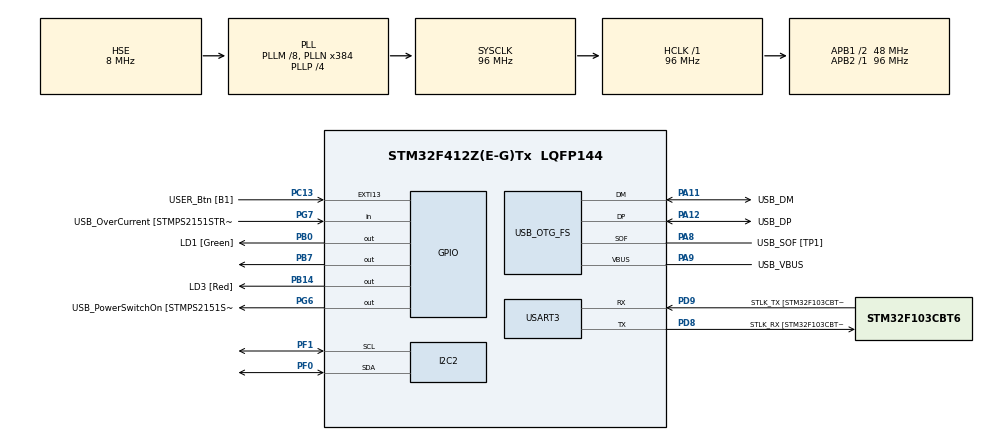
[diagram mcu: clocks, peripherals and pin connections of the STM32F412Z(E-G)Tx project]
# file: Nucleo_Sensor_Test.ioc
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Mcu.Family=STM32F4
Mcu.Name=STM32F412Z(E-G)Tx
Mcu.Package=LQFP144
NVIC.PriorityGroup=NVIC_PRIORITYGROUP_4
PA10.GPIO_Label=USB_ID
PA10.Signal=USB_OTG_FS_ID
PA11.GPIO_Label=USB_DM
PA11.Mode=Device_Only
PA11.Signal=USB_OTG_FS_DM
PA12.GPIO_Label=USB_DP
PA12.Mode=Device_Only
PA12.Signal=USB_OTG_FS_DP
PA13.GPIO_Label=TMS
PA13.Mode=Serial_Wire
PA13.Signal=SYS_JTMS-SWDIO
PA14.GPIO_Label=TCK
PA14.Mode=Serial_Wire
PA14.Signal=SYS_JTCK-SWCLK
PA8.GPIO_Label=USB_SOF [TP1]
PA8.Mode=Activate_SOF_FS
PA8.Signal=USB_OTG_FS_SOF
PA9.GPIO_Label=USB_VBUS
PA9.Mode=Activate_VBUS
PA9.Signal=USB_OTG_FS_VBUS
PB0.GPIO_Label=LD1 [Green]
PB0.Signal=GPIO_Output
PB14.GPIO_Label=LD3 [Red]
PB14.Signal=GPIO_Output
PB3.GPIO_Label=SWO
PB3.Signal=SYS_JTDO-SWO
PB7.Signal=GPIO_Output
PB8.Signal=I2C1_SCL
PB9.Signal=I2C1_SDA
PC13.GPIO_Label=USER_Btn [B1]
PC13.Signal=GPXTI13
PC14-OSC32_IN.Mode=LSE-External-Oscillator
PC14-OSC32_IN.Signal=RCC_OSC32_IN
PC15-OSC32_OUT.Mode=LSE-External-Oscillator
PC15-OSC32_OUT.Signal=RCC_OSC32_OUT
PD8.GPIO_Label=STLK_RX [STM32F103CBT6_PA3]
PD8.Mode=Asynchronous
PD8.Signal=USART3_TX
PD9.GPIO_Label=STLK_TX [STM32F103CBT6_PA2]
PD9.Mode=Asynchronous
PD9.Signal=USART3_RX
PF0.Mode=I2C
PF0.Signal=I2C2_SDA
PF1.Mode=I2C
PF1.Signal=I2C2_SCL
PG6.GPIO_Label=USB_PowerSwitchOn [STMPS2151STR_EN]
PG6.Signal=GPIO_Output
PG7.GPIO_Label=USB_OverCurrent [STMPS2151STR_FAULT]
PG7.Signal=GPIO_Input
PH0\ -\ OSC_IN.GPIO_Label=MCO
PH0\ -\ OSC_IN.Mode=HSE-External-Clock-Source
PH0\ -\ OSC_IN.Signal=RCC_OSC_IN
PH1\ -\ OSC_OUT.Mode=HSE-External-Clock-Source
PH1\ -\ OSC_OUT.Signal=RCC_OSC_OUT
ProjectManager.HeapSize=0x200
ProjectManager.StackSize=0x400
ProjectManager.TargetToolchain=STM32CubeIDE
RCC.48MHZClocksFreq_Value=24000000
RCC.AHBFreq_Value=96000000
RCC.APB1CLKDivider=RCC_HCLK_DIV2
RCC.APB1Freq_Value=48000000
RCC.APB1TimFreq_Value=96000000
RCC.APB2Freq_Value=96000000
RCC.APB2TimFreq_Value=96000000
RCC.CortexFreq_Value=96000000
RCC.HCLKFreq_Value=96000000
RCC.HSE_VALUE=8000000
RCC.HSI_VALUE=16000000
RCC.PLLM=8
RCC.PLLMUL=RCC_PLL_MUL9
RCC.PLLN=384
RCC.PLLP=RCC_PLLP_DIV4
RCC.PLLQ=8
RCC.PRESCALERUSB=RCC_USBCLKSOURCE_PLL_DIV1_5
RCC.SYSCLKFreq_VALUE=96000000
RCC.SYSCLKSource=RCC_SYSCLKSOURCE_PLLCLK
RCC.SYSCLKSourceVirtual=RCC_SYSCLKSOURCE_PLLCLK
RCC.USBFreq_Value=48000000
RCC.VCOOutputFreq_Value=384000000
USART3.VirtualMode=VM_ASYNC
USB_OTG_FS.VirtualMode=Device_Only
board=NUCLEO-F412ZG

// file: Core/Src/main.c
/* USER CODE BEGIN Header */
/**
  ******************************************************************************
  * @file           : main.c
  * @brief          : Main program body
  ******************************************************************************
  * @attention
  *
  * Copyright (c) 2024 STMicroelectronics.
  * All rights reserved.
  *
  * This software is licensed under terms that can be found in the LICENSE file
  * in the root directory of this software component.
  * If no LICENSE file comes with this software, it is provided AS-IS.
  *
  ******************************************************************************
  */
/* USER CODE END Header */
#include "main.h"

/* USER CODE BEGIN Includes */

#include "stm32f4xx_hal.h"
#include <string.h>
#include <stdio.h>
#include <math.h>
#include <stdlib.h>

/* USER CODE END Includes */

/* USER CODE BEGIN PD */

typedef uint8_t bool;
#define false 0
#define true 1

// MMC5603 (Magnometer)
#define MMC5603_ADDRESS (0x30 << 1)  // MMC5603 I2C address
#define MMC5603_REG_CONTROL    0x1A          // Control Register 1
#define MMC5603_REG_CONTROL_2  0x1C          // Control Register 2
#define MMC5603_CONTINUOUS_MODE 0x80         // Enable continuous measurement mode
#define MMC5603_ODR_SETTING     0x08         // Set Output Data Rate (ODR) to a reasonable default

// MPL3115A2 (Temp/ Pressure)
#define MPL3115A2_ADDRESS  (0x60 << 1)  // 7-bit address, shifted left for HAL
#define MPL3115A2_WHO_AM_I 0x0C
#define MPL3115A2_CTRL_REG1 0x26
#define MPL3115A2_OUT_P_MSB 0x01

// MPU6050 (Accel/ Tilt)
#define MPU6050_ADDRESS (0x68 << 1)

// PA1010D (GPS)
#define PA1010D_ADDRESS (0x10 << 1)
#define PA_BFR_SIZE 255

//INA219 (Voltage)
#define INA219_ADDRESS (0x40 << 1)

#define PI 3.141592

#define ALTITUDE_OFFSET 0;

/* USER CODE END PD */

I2C_HandleTypeDef hi2c2;

UART_HandleTypeDef huart3;

PCD_HandleTypeDef hpcd_USB_OTG_FS;

void SystemClock_Config(void);
static void MX_GPIO_Init(void);
static void MX_USART3_UART_Init(void);
static void MX_USB_OTG_FS_PCD_Init(void);
static void MX_I2C2_Init(void);

/* USER CODE BEGIN 0 */

/* Variables TEAM_ID, MISSION_TIME, PACKET_COUNT, MODE, STATE, ALTITUDE,
TEMPERATURE, PRESSURE, VOLTAGE, GYRO_R, GYRO_P, GYRO_Y, ACCEL_R,
ACCEL_P, ACCEL_Y, MAG_R, MAG_P, MAG_Y, AUTO_GYRO_ROTATION_RATE,
GPS_TIME, GPS_ALTITUDE, GPS_LATITUDE, GPS_LONGITUDE, GPS_SATS,
CMD_ECHO [,,OPTIONAL_DATA] */

// Variables
float altitude;
float temperature;
float pressure;
float voltage; // Not implemented yet
float gyro_x;
float gyro_y;
float gyro_z;
float accel_x;
float accel_y;
float accel_z;
float mag_x, mag_y, mag_z;
float auto_gyro_rotation_rate; // Not implemented yet
uint8_t gps_time_hr;
uint8_t gps_time_min;
uint8_t gps_time_sec;
float gps_altitude;
float gps_latitude;
float gps_longitude;
uint8_t gps_sats;

// PA1010D DATA
uint8_t PA1010D_RATE[] = "$PMTK220,500*2B\r\n";
uint8_t PA1010D_SAT[] = "$PMTK313,1*2E\r\n";
uint8_t PA1010D_INIT[] = "$PMTK225,0*2B\r\n";
uint8_t PA1010D_CFG[] = "$PMTK353,1,0,0,0,0*2A\r\n";
uint8_t PA1010D_MODE[] = "$PMTK314,0,0,0,1,0,0,0,0,0,0,0,0,0,0,0,0,0,0,0*29\r\n";
uint8_t PA1010D_SEPERATOR = '$';
HAL_StatusTypeDef pa_ret;
uint8_t pa_buf[PA_BFR_SIZE];
HAL_StatusTypeDef pa_init_ret[5];
uint8_t prev_time = 0;
uint8_t i2cret[128];
char parse_buf[255];
char gps_lat_dir;
char gps_long_dir;

// INA219 DATA (VOLTAGE/CURRENT)
HAL_StatusTypeDef ina_ret;
uint8_t ina_buf[8];
int16_t raw_shunt_voltage;
int16_t raw_bus_voltage;
int16_t raw_power;
int16_t raw_current;
float shunt_voltage;
float bus_voltage;
float power;
float current;

HAL_StatusTypeDef result;

uint8_t set_gps(char* buf, uint8_t order){
	char tmp[2];

	if(strlen(buf)==0)
		return 0;

	switch(order) {
	case 0: //STATUS
		if (strlen(buf)<5 || buf[0] != 'G' || buf[2] != 'G' || buf[3] != 'G' || buf[4] != 'A'){
			return 1;
		}
		break;
	case 1: //TIME
		memcpy(tmp, &buf[0], 2);
		gps_time_hr = atoi(tmp);
		memcpy(tmp, &buf[2], 2);
		gps_time_min = atoi(tmp);
		memcpy(tmp, &buf[4], 2);
		gps_time_sec = atoi(tmp);

		break;
	case 2: //LATITUDE
		gps_latitude = atof(buf) / 100;
		break;
	case 3: //LATITUDE_DIR
		gps_lat_dir = *buf;
		if (gps_lat_dir == 'S') {
			gps_latitude*= -1;
		}
		break;
	case 4: //LONGITUDE
		gps_longitude = atof(buf) / 100;
		break;
	case 5: //LONGITUDE DIR
		gps_long_dir = *buf;
		if (gps_long_dir == 'W') {
			gps_longitude*= -1;
		}
		break;
	case 7: //SATS
		gps_sats = atoi(buf);
		break;
	case 9: //ALTITUDE
		gps_altitude = atof(buf);
		break;
	default:
		break;
	}

	return 0;
}

bool parse_nmea(char *buf){
	uint8_t i;
	uint8_t last = 0;
	uint8_t order = 0;

	for(i=0; i<255;i++){
		if ( buf[i] == 44 ){
			if (last != i){
				memset(parse_buf, '\000', sizeof parse_buf);
				memcpy(parse_buf, &buf[last], i-last);
				if(set_gps(parse_buf, order)){
					return false;
				}
			}
			last = i + 1;
			order = order + 1;
		} else if (buf[i] == 42) {
			break;
		}
	}

	return true;
}

float calculate_altitude(float pressure) {
	return 44330.77 * (1 - powf(pressure / 101.326, 0.1902632)) + ALTITUDE_OFFSET;
}

void read_MMC5603(void) {
    uint8_t mmc5603_buf[9];
    uint8_t first_reg = 0x00;
	int32_t raw_x, raw_y, raw_z;

	// Perform the I2C write (send the register address) then read 9 bytes of data
	if (HAL_I2C_Master_Transmit(&hi2c2, MMC5603_ADDRESS, &first_reg, 1, HAL_MAX_DELAY) != HAL_OK) {
		// Handle transmission error
		return;
	}

	HAL_Delay(10);

	// Read 9 bytes of data from the sensor
	if (HAL_I2C_Master_Receive(&hi2c2, MMC5603_ADDRESS, mmc5603_buf, 9, HAL_MAX_DELAY) != HAL_OK) {
		// Handle reception error
		return;
	}

	// Extract X, Y, Z values from the buffer
	raw_x = ((uint32_t)mmc5603_buf[0] << 12) | ((uint32_t)mmc5603_buf[1] << 4) | ((uint32_t)mmc5603_buf[6] >> 4);
	raw_y = ((uint32_t)mmc5603_buf[2] << 12) | ((uint32_t)mmc5603_buf[3] << 4) | ((uint32_t)mmc5603_buf[7] >> 4);
	raw_z = ((uint32_t)mmc5603_buf[4] << 12) | ((uint32_t)mmc5603_buf[5] << 4) | ((uint32_t)mmc5603_buf[8] >> 4);

	// Fix center offsets

	raw_x -= (1 << 19);
	raw_y -= (1 << 19);
	raw_z -= (1 << 19);

	// Scale to Gauss
	mag_x = (float)raw_x * 0.0000625;
	mag_y = (float)raw_y * 0.0000625;
	mag_z = (float)raw_z * 0.0000625;
}

void read_MPL3115A2(void)
{
    uint8_t mpl_data[5]; // Buffer to hold pressure and temperature data

    // Read 5 bytes from OUT_P_MSB (3 for pressure, 2 for temperature)
    HAL_I2C_Mem_Read(&hi2c2, MPL3115A2_ADDRESS, MPL3115A2_OUT_P_MSB, I2C_MEMADD_SIZE_8BIT, mpl_data, 9, HAL_MAX_DELAY);

    // Combine pressure bytes into a 20-bit integer
    uint32_t p_raw = ((uint32_t)mpl_data[0] << 16) | ((uint32_t)mpl_data[1] << 8) | (mpl_data[2]);
    p_raw >>= 4; // Pressure is stored in the upper 20 bits

    // Convert raw pressure to Pascals
    pressure = p_raw / 4.0 / 1000; // Pressure in KiloPascals

    // Combine temperature bytes into a 12-bit integer
    int16_t t_raw = ((int16_t)mpl_data[3] << 8) | (mpl_data[4]);
    t_raw >>= 4; // Temperature is stored in the upper 12 bits

    // Convert raw temperature to degrees Celsius
    temperature = t_raw / 16.0; // Temperature in Celsius

    altitude = calculate_altitude(pressure);
}

void read_MPU6050(void) {
	uint8_t imu_addr = 0x3B;
	uint8_t gyro_addr = 0x43;
	HAL_StatusTypeDef mpu_ret;
	uint8_t mpu_buf[6];
	int16_t raw_accel_x;
	int16_t raw_accel_y;
	int16_t raw_accel_z;
	int16_t raw_gyro_x = 0;
	int16_t raw_gyro_y = 0;
	int16_t raw_gyro_z = 0;

	mpu_ret = HAL_I2C_IsDeviceReady(&hi2c2, MPU6050_ADDRESS, 3, 5);
    if (mpu_ret == HAL_OK){
		mpu_ret = HAL_I2C_Master_Transmit(&hi2c2, MPU6050_ADDRESS, &imu_addr, 1, 100);
		if ( mpu_ret == HAL_OK ) {
			mpu_ret = HAL_I2C_Master_Receive(&hi2c2, MPU6050_ADDRESS, mpu_buf, 6, 100);
			if ( mpu_ret == HAL_OK ) {
				// shift first byte left, add second byte
				raw_accel_x = (int16_t)(mpu_buf[0] << 8 | mpu_buf[1]);
				raw_accel_y = (int16_t)(mpu_buf[2] << 8 | mpu_buf[3]);
				raw_accel_z = (int16_t)(mpu_buf[4] << 8 | mpu_buf[5]);

				// get float values in g
				accel_x = raw_accel_x/16384.0;
				accel_y = raw_accel_y/16384.0;
				accel_z = raw_accel_z/16384.0;
			}
		}

		mpu_ret = HAL_I2C_Master_Transmit(&hi2c2, MPU6050_ADDRESS, &gyro_addr, 1, 100);
		if ( mpu_ret == HAL_OK ) {
			mpu_ret = HAL_I2C_Master_Receive(&hi2c2, MPU6050_ADDRESS, mpu_buf, 6, 100);
			if ( mpu_ret == HAL_OK ) {
				// shift first byte left, add second byte
				raw_gyro_x = (int16_t)(mpu_buf[0] << 8 | mpu_buf [1]);
				raw_gyro_y = (int16_t)(mpu_buf[2] << 8 | mpu_buf [3]);
				raw_gyro_z = (int16_t)(mpu_buf[4] << 8 | mpu_buf [5]);

				// convert to deg/sec
				gyro_x = raw_gyro_x/131.0;
				gyro_y = raw_gyro_y/131.0;
				gyro_z = raw_gyro_z/131.0;
			}
		}
    }
}

void read_PA1010D(void)
{
	uint8_t pa1010d_i;
	uint8_t pa1010d_bytebuf;

	/* PA1010D (GPS) */
	for(pa1010d_i=0; pa1010d_i<255; pa1010d_i++){
		pa_ret = HAL_I2C_Master_Receive(&hi2c2, PA1010D_ADDRESS, &pa1010d_bytebuf, 1, 100);
		if (pa1010d_bytebuf == '$'){
			break;
		}
		pa_buf[pa1010d_i] = pa1010d_bytebuf;
	}
	parse_nmea(pa_buf);
}

void read_INA219(void) {
	/* INA219 (CURRENT/VOLTAGE) */
	uint8_t bus_add = 0x02; // need to use separate registers for everything

	ina_ret = HAL_I2C_IsDeviceReady(&hi2c2, INA219_ADDRESS, 3, 5);
	if (ina_ret == HAL_OK) {
		ina_ret = HAL_I2C_Master_Transmit(&hi2c2, INA219_ADDRESS, &bus_add, 1, 100);
		if (ina_ret == HAL_OK) {
			HAL_I2C_Master_Receive(&hi2c2, INA219_ADDRESS, ina_buf, 2, 10);

			//raw_shunt_voltage = abs((int16_t)(ina_buf[0] << 8 | ina_buf[1]));
			raw_bus_voltage = (int16_t)(ina_buf[0] << 8 | ina_buf [1]);
			//raw_power = (int16_t)(ina_buf[4] << 8 | ina_buf [5]);
			//raw_current = (int16_t)(ina_buf[6] << 8 | ina_buf [7]);

			//shunt_voltage = raw_shunt_voltage*10.0;
			bus_voltage = raw_bus_voltage/1600.0;
			//power = raw_power*20/32768.0;
			//current = raw_current/32768.0;

			voltage = bus_voltage;
		}

	}

}

void init_MMC5603(void) {
	uint8_t odr_value = 100;  // Example: Set ODR to 1000 Hz by writing 255
	uint8_t control_reg0 = 0b10000000;  // Set Cmm_freq_en and Take_meas_M
	uint8_t control_reg1 = 0b10000000;  // BW0=0, BW1=0 (6.6 ms)
	uint8_t control_reg2 = 0b00010000;  // Set Cmm_en to enable continuous mode

	// Configure Control Register 1
	HAL_I2C_Mem_Write(&hi2c2, MMC5603_ADDRESS, 0x1C, I2C_MEMADD_SIZE_8BIT, &control_reg1, 1, HAL_MAX_DELAY);
	HAL_Delay(20);
	uint8_t set_bit = 0b00001000;
	HAL_I2C_Mem_Write(&hi2c2, MMC5603_ADDRESS, 0x1B, I2C_MEMADD_SIZE_8BIT, &set_bit, 1, HAL_MAX_DELAY);
	HAL_Delay(1);
	uint8_t reset_bit = 0b00010000;
	HAL_I2C_Mem_Write(&hi2c2, MMC5603_ADDRESS, 0x1B, I2C_MEMADD_SIZE_8BIT, &reset_bit, 1, HAL_MAX_DELAY);
	HAL_Delay(1);

	// Set Output Data Rate
	HAL_I2C_Mem_Write(&hi2c2, MMC5603_ADDRESS, 0x1A, I2C_MEMADD_SIZE_8BIT, &odr_value, 1, HAL_MAX_DELAY);
	HAL_Delay(10);

	// Configure Control Register 0
	HAL_I2C_Mem_Write(&hi2c2, MMC5603_ADDRESS, 0x1B, I2C_MEMADD_SIZE_8BIT, &control_reg0, 1, HAL_MAX_DELAY);
	HAL_Delay(10);

	// Configure Control Register 2
	HAL_I2C_Mem_Write(&hi2c2, MMC5603_ADDRESS, 0x1D, I2C_MEMADD_SIZE_8BIT, &control_reg2, 1, HAL_MAX_DELAY);

	// Optionally: Add a delay to allow the sensor to stabilize
	HAL_Delay(10);
}

void init_MPL3115A2(void)
{
	// Check the WHO_AM_I register to verify sensor is connected
	uint8_t who_am_i = 0;
	HAL_I2C_Mem_Read(&hi2c2, MPL3115A2_ADDRESS, MPL3115A2_WHO_AM_I, I2C_MEMADD_SIZE_8BIT, &who_am_i, 1, HAL_MAX_DELAY);
	if (who_am_i == 0xC4)
	{
		// WHO_AM_I is correct, now configure the sensor
//		uint8_t data = 0xB9; // Altimeter mode
		uint8_t data = 0x39; // Barometer mode
		HAL_I2C_Mem_Write(&hi2c2, MPL3115A2_ADDRESS, MPL3115A2_CTRL_REG1, I2C_MEMADD_SIZE_8BIT, &data, 1, HAL_MAX_DELAY);
	}
	else
	{
		// Handle error
	}
}

void init_MPU6050(void)
{
	uint8_t mpu_config = 0x00;
	uint8_t mpu_set_sample_rate = 0x07;
	uint8_t mpu_set_fs_range = 0x00;

	// wake up sensor
	HAL_I2C_Mem_Write(&hi2c2, MPU6050_ADDRESS, 0x6B, 1,&mpu_config, 1, 1000);

	// set sample rate to 1kHz, config ranges
	HAL_I2C_Mem_Write(&hi2c2, MPU6050_ADDRESS, 0x19, 1, &mpu_set_sample_rate, 1, 1000);
	HAL_I2C_Mem_Write(&hi2c2, MPU6050_ADDRESS, 0x1B, 1, &mpu_set_fs_range, 1, 1000);
	HAL_I2C_Mem_Write(&hi2c2, MPU6050_ADDRESS, 0x1c, 1, &mpu_set_fs_range, 1, 1000);
}

void init_PA1010D(void)
{
	uint8_t pa1010d_bytebuf;

//	pa_init_ret[0] = HAL_I2C_Master_Transmit(&hi2c2, PA1010D_ADDRESS, PA1010D_RATE, strlen( (char *)PA1010D_RATE), 1000);
	pa_init_ret[1] = HAL_I2C_Master_Transmit(&hi2c2, PA1010D_ADDRESS, PA1010D_INIT, strlen( (char *)PA1010D_INIT), 1000);
	pa_init_ret[2] = HAL_I2C_Master_Transmit(&hi2c2, PA1010D_ADDRESS, PA1010D_SAT, strlen( (char *)PA1010D_SAT), 1000);
//	pa_init_ret[3] = HAL_I2C_Master_Transmit(&hi2c2, PA1010D_ADDRESS, PA1010D_CFG, strlen( (char *)PA1010D_CFG), 1000);
	pa_init_ret[4] = HAL_I2C_Master_Transmit(&hi2c2, PA1010D_ADDRESS, PA1010D_MODE, strlen( (char *)PA1010D_MODE), 1000);

	//Wait for stabilization
	for(int j=0; j<10; j++){
		for(int i=0; i<255; i++){
			HAL_I2C_Master_Receive(&hi2c2, PA1010D_ADDRESS, &pa1010d_bytebuf, 1, 10);
			if (pa1010d_bytebuf == '$'){
				break;
			}
			pa_buf[i] = pa1010d_bytebuf;
		}
		if (j>5){
			parse_nmea(pa_buf);
		}
		HAL_Delay(500);
	}
}

void init_INA219(void)
{
	uint8_t ina_config[2] = {0b00000001, 0b00011101};
	HAL_I2C_Mem_Write(&hi2c2, (uint16_t) INA219_ADDRESS, 0x05, 1, ina_config, 2, 1000);
}

void read_sensors(void)
{
	read_MPL3115A2(); // Temperature/ Pressure
	read_MMC5603(); // Magnetic Field
	read_MPU6050(); // Accel/ tilt
	read_PA1010D(); // GPS
	read_INA219(); // Voltage
}

void init_sensors()
{
	result = HAL_I2C_IsDeviceReady(&hi2c2, MPU6050_ADDRESS, 3, 5);

	init_MPL3115A2();
	init_MMC5603();
	init_MPU6050();
	init_PA1010D();
	init_INA219();
}

/* USER CODE END 0 */

int main(void)
{

  /* MCU Configuration--------------------------------------------------------*/

  /* Reset of all peripherals, Initializes the Flash interface and the Systick. */
  HAL_Init();

  /* Configure the system clock */
  SystemClock_Config();

  /* Initialize all configured peripherals */
  MX_GPIO_Init();
  MX_USART3_UART_Init();
  MX_USB_OTG_FS_PCD_Init();
  MX_I2C2_Init();
  /* USER CODE BEGIN 2 */

  init_sensors();

  /* USER CODE END 2 */

  /* Infinite loop */
  /* USER CODE BEGIN WHILE */

  while (1)
  {

	  read_sensors();

	  HAL_Delay(1000);

    /* USER CODE END WHILE */

  }
}

void SystemClock_Config(void)
{
  RCC_OscInitTypeDef RCC_OscInitStruct = {0};
  RCC_ClkInitTypeDef RCC_ClkInitStruct = {0};

  /** Configure the main internal regulator output voltage
  */
  __HAL_RCC_PWR_CLK_ENABLE();
  __HAL_PWR_VOLTAGESCALING_CONFIG(PWR_REGULATOR_VOLTAGE_SCALE1);

  /** Initializes the RCC Oscillators according to the specified parameters
  * in the RCC_OscInitTypeDef structure.
  */
  RCC_OscInitStruct.OscillatorType = RCC_OSCILLATORTYPE_HSE;
  RCC_OscInitStruct.HSEState = RCC_HSE_BYPASS;
  RCC_OscInitStruct.PLL.PLLState = RCC_PLL_ON;
  RCC_OscInitStruct.PLL.PLLSource = RCC_PLLSOURCE_HSE;
  RCC_OscInitStruct.PLL.PLLM = 8;
  RCC_OscInitStruct.PLL.PLLN = 384;
  RCC_OscInitStruct.PLL.PLLP = RCC_PLLP_DIV4;
  RCC_OscInitStruct.PLL.PLLQ = 8;
  RCC_OscInitStruct.PLL.PLLR = 2;
  if (HAL_RCC_OscConfig(&RCC_OscInitStruct) != HAL_OK)
  {
    Error_Handler();
  }

  /** Initializes the CPU, AHB and APB buses clocks
  */
  RCC_ClkInitStruct.ClockType = RCC_CLOCKTYPE_HCLK|RCC_CLOCKTYPE_SYSCLK
                              |RCC_CLOCKTYPE_PCLK1|RCC_CLOCKTYPE_PCLK2;
  RCC_ClkInitStruct.SYSCLKSource = RCC_SYSCLKSOURCE_PLLCLK;
  RCC_ClkInitStruct.AHBCLKDivider = RCC_SYSCLK_DIV1;
  RCC_ClkInitStruct.APB1CLKDivider = RCC_HCLK_DIV2;
  RCC_ClkInitStruct.APB2CLKDivider = RCC_HCLK_DIV1;

  if (HAL_RCC_ClockConfig(&RCC_ClkInitStruct, FLASH_LATENCY_3) != HAL_OK)
  {
    Error_Handler();
  }
}

static void MX_I2C2_Init(void)
{

  hi2c2.Instance = I2C2;
  hi2c2.Init.ClockSpeed = 100000;
  hi2c2.Init.DutyCycle = I2C_DUTYCYCLE_2;
  hi2c2.Init.OwnAddress1 = 0;
  hi2c2.Init.AddressingMode = I2C_ADDRESSINGMODE_7BIT;
  hi2c2.Init.DualAddressMode = I2C_DUALADDRESS_DISABLE;
  hi2c2.Init.OwnAddress2 = 0;
  hi2c2.Init.GeneralCallMode = I2C_GENERALCALL_DISABLE;
  hi2c2.Init.NoStretchMode = I2C_NOSTRETCH_DISABLE;
  if (HAL_I2C_Init(&hi2c2) != HAL_OK)
  {
    Error_Handler();
  }

}

static void MX_USART3_UART_Init(void)
{

  huart3.Instance = USART3;
  huart3.Init.BaudRate = 115200;
  huart3.Init.WordLength = UART_WORDLENGTH_8B;
  huart3.Init.StopBits = UART_STOPBITS_1;
  huart3.Init.Parity = UART_PARITY_NONE;
  huart3.Init.Mode = UART_MODE_TX_RX;
  huart3.Init.HwFlowCtl = UART_HWCONTROL_NONE;
  huart3.Init.OverSampling = UART_OVERSAMPLING_16;
  if (HAL_UART_Init(&huart3) != HAL_OK)
  {
    Error_Handler();
  }

}

static void MX_USB_OTG_FS_PCD_Init(void)
{

  hpcd_USB_OTG_FS.Instance = USB_OTG_FS;
  hpcd_USB_OTG_FS.Init.dev_endpoints = 6;
  hpcd_USB_OTG_FS.Init.speed = PCD_SPEED_FULL;
  hpcd_USB_OTG_FS.Init.dma_enable = DISABLE;
  hpcd_USB_OTG_FS.Init.phy_itface = PCD_PHY_EMBEDDED;
  hpcd_USB_OTG_FS.Init.Sof_enable = ENABLE;
  hpcd_USB_OTG_FS.Init.low_power_enable = DISABLE;
  hpcd_USB_OTG_FS.Init.lpm_enable = DISABLE;
  hpcd_USB_OTG_FS.Init.battery_charging_enable = ENABLE;
  hpcd_USB_OTG_FS.Init.vbus_sensing_enable = ENABLE;
  hpcd_USB_OTG_FS.Init.use_dedicated_ep1 = DISABLE;
  if (HAL_PCD_Init(&hpcd_USB_OTG_FS) != HAL_OK)
  {
    Error_Handler();
  }

}

static void MX_GPIO_Init(void)
{
  GPIO_InitTypeDef GPIO_InitStruct = {0};

  /* GPIO Ports Clock Enable */
  __HAL_RCC_GPIOC_CLK_ENABLE();
  __HAL_RCC_GPIOF_CLK_ENABLE();
  __HAL_RCC_GPIOH_CLK_ENABLE();
  __HAL_RCC_GPIOB_CLK_ENABLE();
  __HAL_RCC_GPIOD_CLK_ENABLE();
  __HAL_RCC_GPIOG_CLK_ENABLE();
  __HAL_RCC_GPIOA_CLK_ENABLE();

  /*Configure GPIO pin Output Level */
  HAL_GPIO_WritePin(GPIOB, LD1_Pin|LD3_Pin|GPIO_PIN_7, GPIO_PIN_RESET);

  /*Configure GPIO pin Output Level */
  HAL_GPIO_WritePin(USB_PowerSwitchOn_GPIO_Port, USB_PowerSwitchOn_Pin, GPIO_PIN_RESET);

  /*Configure GPIO pin : USER_Btn_Pin */
  GPIO_InitStruct.Pin = USER_Btn_Pin;
  GPIO_InitStruct.Mode = GPIO_MODE_IT_RISING;
  GPIO_InitStruct.Pull = GPIO_NOPULL;
  HAL_GPIO_Init(USER_Btn_GPIO_Port, &GPIO_InitStruct);

  /*Configure GPIO pins : LD1_Pin LD3_Pin PB7 */
  GPIO_InitStruct.Pin = LD1_Pin|LD3_Pin|GPIO_PIN_7;
  GPIO_InitStruct.Mode = GPIO_MODE_OUTPUT_PP;
  GPIO_InitStruct.Pull = GPIO_NOPULL;
  GPIO_InitStruct.Speed = GPIO_SPEED_FREQ_LOW;
  HAL_GPIO_Init(GPIOB, &GPIO_InitStruct);

  /*Configure GPIO pin : USB_PowerSwitchOn_Pin */
  GPIO_InitStruct.Pin = USB_PowerSwitchOn_Pin;
  GPIO_InitStruct.Mode = GPIO_MODE_OUTPUT_PP;
  GPIO_InitStruct.Pull = GPIO_NOPULL;
  GPIO_InitStruct.Speed = GPIO_SPEED_FREQ_LOW;
  HAL_GPIO_Init(USB_PowerSwitchOn_GPIO_Port, &GPIO_InitStruct);

  /*Configure GPIO pin : USB_OverCurrent_Pin */
  GPIO_InitStruct.Pin = USB_OverCurrent_Pin;
  GPIO_InitStruct.Mode = GPIO_MODE_INPUT;
  GPIO_InitStruct.Pull = GPIO_NOPULL;
  HAL_GPIO_Init(USB_OverCurrent_GPIO_Port, &GPIO_InitStruct);

  /*Configure GPIO pins : PB8 PB9 */
  GPIO_InitStruct.Pin = GPIO_PIN_8|GPIO_PIN_9;
  GPIO_InitStruct.Mode = GPIO_MODE_AF_OD;
  GPIO_InitStruct.Pull = GPIO_NOPULL;
  GPIO_InitStruct.Speed = GPIO_SPEED_FREQ_VERY_HIGH;
  GPIO_InitStruct.Alternate = GPIO_AF4_I2C1;
  HAL_GPIO_Init(GPIOB, &GPIO_InitStruct);

}

void Error_Handler(void)
{
  __disable_irq();
  while (1)
  {
  }
}
